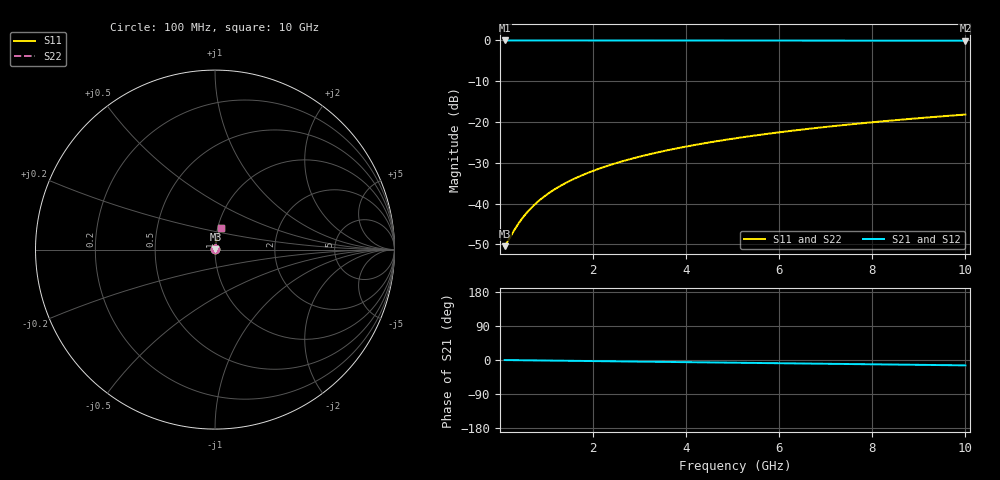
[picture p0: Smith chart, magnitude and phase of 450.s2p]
# Hz S RI R 50.00
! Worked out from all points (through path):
!   100 points, 100 MHz to 10 GHz, reference 50 ohm
!   highest |S21| = -0.02 dB at 100 MHz (marker M1); lowest = -0.1 dB at 10 GHz (marker M2)
!   group delay of S21, straight-line fit = 3.94 ps
!   lowest |S11| = -50.4 dB at 100 MHz (marker M3), VSWR 1.01, Z = 50.3 + j0.125 ohm
!   |S11| at or under -10 dB: start of sweep to end of sweep
!   |S22| runs from -50.4 to -18.2 dB; largest |S21 - S12| = 0
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1e8  0.00273 0.00124  0.9973 -0.00247  0.9973 -0.00247  0.00273 0.00124
2e8  0.00276 0.00248  0.9972 -0.00494  0.9972 -0.00494  0.00276 0.00248
3e8  0.00279 0.00373  0.9972 -0.00741  0.9972 -0.00741  0.00279 0.00373
4e8  0.00282 0.00497  0.9972 -0.00988  0.9972 -0.00988  0.00282 0.00497
5e8  0.00286 0.00621  0.9971 -0.0124  0.9971 -0.0124  0.00286 0.00621
6e8  0.0029 0.00745  0.9971 -0.0148  0.9971 -0.0148  0.0029 0.00745
7e8  0.00295 0.00869  0.997 -0.0173  0.997 -0.0173  0.00295 0.00869
8e8  0.003 0.00994  0.9969 -0.0198  0.9969 -0.0198  0.003 0.00994
1e9  0.00312 0.0124  0.9968 -0.0247  0.9968 -0.0247  0.00312 0.0124
1.2e9  0.00327 0.0149  0.9966 -0.0296  0.9966 -0.0296  0.00327 0.0149
1.5e9  0.00353 0.0186  0.9963 -0.037  0.9963 -0.037  0.00353 0.0186
1.8e9  0.00384 0.0223  0.9959 -0.0444  0.9959 -0.0444  0.00384 0.0223
2.1e9  0.00421 0.026  0.9954 -0.0518  0.9954 -0.0518  0.00421 0.026
2.5e9  0.00479 0.031  0.9947 -0.0617  0.9947 -0.0617  0.00479 0.031
2.9e9  0.00547 0.0359  0.9939 -0.0715  0.9939 -0.0715  0.00547 0.0359
3.4e9  0.00645 0.042  0.9926 -0.0838  0.9926 -0.0838  0.00645 0.042
4.2e9  0.00832 0.0518  0.9903 -0.1034  0.9903 -0.1034  0.00832 0.0518
5.1e9  0.0109 0.0626  0.9871 -0.1253  0.9871 -0.1253  0.0109 0.0626
5.9e9  0.0136 0.0721  0.9837 -0.1447  0.9837 -0.1447  0.0136 0.0721
6.7e9  0.0166 0.0816  0.9799 -0.164  0.9799 -0.164  0.0166 0.0816
8.4e9  0.0243 0.1011  0.9702 -0.2046  0.9702 -0.2046  0.0243 0.1011
1e10  0.0331 0.1188  0.9592 -0.242  0.9592 -0.242  0.0331 0.1188
